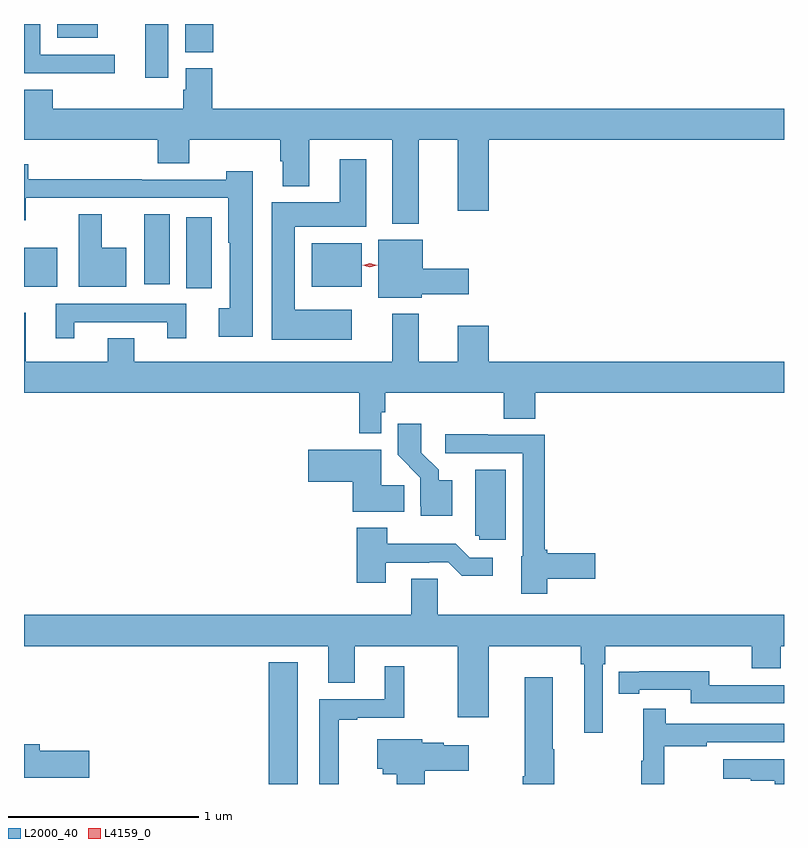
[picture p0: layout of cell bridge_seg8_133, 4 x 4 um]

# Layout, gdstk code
import gdstk
lib = gdstk.Library(unit=1e-6, precision=1e-09)
def R(c, l, rs):  # rectangles x0, y0, x1, y1
    for r in rs: c.add(gdstk.rectangle(r[:2], r[2:], *l))
def P(c, l, *ps):  # polygons
    for p in ps: c.add(gdstk.Polygon(p, *l))
L2000_40 = (2000, 40)
L4159_0 = (4159, 0)

bridge_seg8_133 = lib.new_cell('bridge_seg8_133')
R(bridge_seg8_133, L2000_40, [(463.715,1145.078,463.867,1145.719), (463.28,1147.686,463.414,1148.062), (462.426,1147.694,462.601,1147.9), (463.94,1147.694,464.203,1147.924), (463.058,1147.707,463.192,1148.078), (463.064,1148.796,463.186,1149.078), (463.274,1148.929,463.421,1149.078), (462.602,1149.005,462.814,1149.078)])
P(bridge_seg8_133, L2000_40, [(462.904,1148.916),(462.511,1148.916),(462.511,1149.078),(462.426,1149.078),(462.426,1148.819),(462.904,1148.819)],
  [(464.503,1148.468),(464.708,1148.468),(464.708,1148.094),(464.872,1148.094),(464.872,1148.468),(466.426,1148.468),(466.426,1148.632),(463.418,1148.632),(463.418,1148.844),(463.277,1148.844),(463.277,1148.733),(463.265,1148.733),(463.265,1148.632),(462.578,1148.632),(462.578,1148.731),(462.426,1148.731),(462.426,1148.468),(463.13,1148.468),(463.13,1148.344),(463.295,1148.344),(463.295,1148.468),(463.775,1148.468),(463.775,1148.356),(463.787,1148.356),(463.787,1148.225),(463.927,1148.225),(463.927,1148.468),(464.363,1148.468),(464.363,1148.027),(464.503,1148.027)],
  [(464.152,1147.573),(463.852,1147.573),(463.852,1148.012),(464.227,1148.012),(464.227,1148.365),(464.087,1148.365),(464.087,1148.14),(463.73,1148.14),(463.73,1147.415),(464.152,1147.415)],
  [(463.63,1148.302),(463.49,1148.302),(463.49,1148.259),(463.046,1148.259),(463.046,1148.261),(462.449,1148.261),(462.449,1148.341),(462.426,1148.341),(462.426,1148.046),(462.436,1148.046),(462.436,1148.163),(463.502,1148.163),(463.502,1147.926),(463.508,1147.926),(463.508,1147.581),(463.452,1147.581),(463.452,1147.433),(463.63,1147.433)],
  [(462.964,1147.9),(462.835,1147.9),(462.835,1148.078),(462.713,1148.078),(462.713,1147.694),(462.964,1147.694)],
  [(464.52,1147.655),(464.767,1147.655),(464.767,1147.79),(464.524,1147.79),(464.524,1147.942),(464.291,1147.942),(464.291,1147.637),(464.52,1147.637)],
  [(462.691,1147.509),(463.181,1147.509),(463.181,1147.425),(463.279,1147.425),(463.279,1147.605),(462.593,1147.605),(462.593,1147.425),(462.691,1147.425)],
  [(464.307,1147.035),(464.327,1147.035),(464.327,1147.136),(464.951,1147.136),(464.951,1147),(465.116,1147),(465.116,1147.136),(466.426,1147.136),(466.426,1147.3),(464.872,1147.3),(464.872,1147.489),(464.708,1147.489),(464.708,1147.3),(464.503,1147.3),(464.503,1147.552),(464.363,1147.552),(464.363,1147.3),(463.006,1147.3),(463.006,1147.424),(462.866,1147.424),(462.866,1147.3),(462.436,1147.3),(462.436,1147.558),(462.426,1147.558),(462.426,1147.136),(464.191,1147.136),(464.191,1146.923),(464.307,1146.923)],
  [(464.68,1146.676),(464.608,1146.676),(464.608,1146.731),(464.518,1146.821),(464.518,1146.973),(464.392,1146.973),(464.392,1146.81),(464.511,1146.691),(464.511,1146.54),(464.513,1146.54),(464.513,1146.491),(464.68,1146.491)],
  [(465.18,1146.158),(465.433,1146.158),(465.433,1146.293),(465.18,1146.293),(465.18,1146.311),(465.167,1146.311),(465.167,1146.915),(464.867,1146.915),(464.867,1146.918),(464.643,1146.918),(464.643,1146.819),(465.051,1146.819),(465.051,1146.276),(465.044,1146.276),(465.044,1146.08),(465.18,1146.08)],
  [(464.426,1146.65),(464.305,1146.65),(464.305,1146.838),(463.923,1146.838),(463.923,1146.668),(464.156,1146.668),(464.156,1146.512),(464.426,1146.512)],
  [(464.962,1146.733),(464.801,1146.733),(464.801,1146.384),(464.823,1146.384),(464.823,1146.363),(464.962,1146.363)],
  [(464.329,1146.243),(464.558,1146.243),(464.558,1146.246),(464.658,1146.246),(464.731,1146.173),(464.893,1146.173),(464.893,1146.27),(464.772,1146.27),(464.699,1146.343),(464.337,1146.343),(464.337,1146.427),(464.177,1146.427),(464.177,1146.138),(464.329,1146.138)],
  [(465.471,1145.708),(465.485,1145.708),(465.485,1145.804),(466.256,1145.804),(466.256,1145.687),(466.409,1145.687),(466.409,1145.804),(466.426,1145.804),(466.426,1145.968),(464.604,1145.968),(464.604,1146.158),(464.465,1146.158),(464.465,1145.968),(462.426,1145.968),(462.426,1145.804),(464.027,1145.804),(464.027,1145.61),(464.167,1145.61),(464.167,1145.804),(464.708,1145.804),(464.708,1145.43),(464.872,1145.43),(464.872,1145.804),(465.355,1145.804),(465.355,1145.708),(465.374,1145.708),(465.374,1145.349),(465.471,1145.349)],
  [(464.083,1145.415),(464.179,1145.415),(464.179,1145.427),(464.426,1145.427),(464.426,1145.698),(464.324,1145.698),(464.324,1145.523),(463.979,1145.523),(463.979,1145.078),(464.083,1145.078)],
  [(466.426,1145.598),(466.032,1145.598),(466.032,1145.671),(465.664,1145.671),(465.664,1145.67),(465.556,1145.67),(465.556,1145.554),(465.664,1145.554),(465.664,1145.574),(465.936,1145.574),(465.936,1145.502),(466.426,1145.502)],
  [(465.216,1145.261),(465.208,1145.261),(465.208,1145.641),(465.062,1145.641),(465.062,1145.118),(465.05,1145.118),(465.05,1145.078),(465.216,1145.078)],
  [(465.796,1145.278),(466.019,1145.278),(466.019,1145.298),(466.426,1145.298),(466.426,1145.394),(465.803,1145.394),(465.803,1145.473),(465.686,1145.473),(465.686,1145.201),(465.675,1145.201),(465.675,1145.078),(465.796,1145.078)],
  [(464.534,1145.147),(464.767,1145.147),(464.767,1145.281),(464.636,1145.281),(464.636,1145.294),(464.521,1145.294),(464.521,1145.314),(464.285,1145.314),(464.285,1145.157),(464.313,1145.157),(464.313,1145.13),(464.389,1145.13),(464.389,1145.078),(464.534,1145.078)],
  [(462.769,1145.252),(462.508,1145.252),(462.508,1145.288),(462.426,1145.288),(462.426,1145.11),(462.769,1145.11)],
  [(466.426,1145.209),(466.107,1145.209),(466.107,1145.105),(466.25,1145.105),(466.25,1145.095),(466.376,1145.095),(466.376,1145.078),(466.426,1145.078)])
P(bridge_seg8_133, L4159_0, [(464.246,1147.798),(464.208,1147.808),(464.208,1147.808),(464.208,1147.809),(464.246,1147.818),(464.285,1147.809),(464.285,1147.808),(464.285,1147.808)])

lib.write_gds('bridge_seg8_133.gds')
